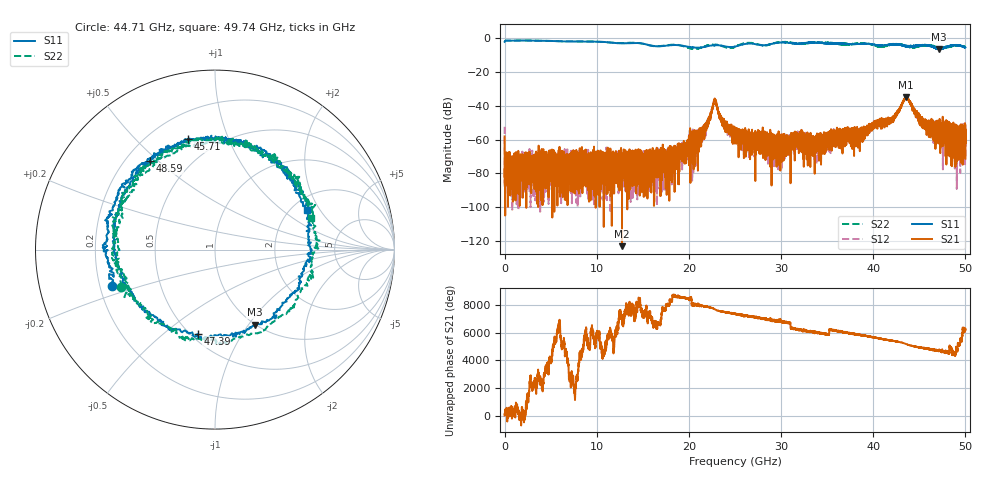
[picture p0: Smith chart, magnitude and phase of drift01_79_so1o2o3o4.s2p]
!Created with skrf (http://scikit-rf.org).
# Hz S RI R 50.0
!freq ReS11 ImS11 ReS21 ImS21 ReS12 ImS12 ReS22 ImS22
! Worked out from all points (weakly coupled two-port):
!   10001 points, 300 kHz to 50 GHz, reference 50 ohm
!   highest |S21| = -34.82 dB at 43.56 GHz (marker M1); lowest = -123.1 dB at 12.74 GHz (marker M2)
!   lowest |S11| = -6.5 dB at 47.11 GHz (marker M3), VSWR 2.79, Z = 49.8 - j53.5 ohm
!   |S11| at or under -10 dB: nowhere
!   |S22| runs from -6.4 to -1.4 dB; largest |S21 - S12| = 0.0037
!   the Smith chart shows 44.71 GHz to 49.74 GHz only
!   S11 on the Smith chart (normalised r, x): 44.71 GHz: 0.25, -0.16; 45.71 GHz: 0.35, +0.72; 47.39 GHz: 0.54, -0.66; 48.59 GHz: 0.30, +0.47; 49.74 GHz: 2.41, +1.56
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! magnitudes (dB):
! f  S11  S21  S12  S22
! 300 kHz  -2.1  -58.1  -52.4  -2.1
! 260.3 MHz  -1.4  -83.7  -78.5  -1.4
! 8.335 GHz  -1.9  -77.2  -78.8  -1.8
! 12.74 GHz  -3.0  -123.1  -76.5  -2.9
! 16.67 GHz  -4.8  -69.1  -75.8  -4.8
! 21.11 GHz  -5.6  -58.4  -56.3  -5.9
! 21.96 GHz  -4.8  -49.9  -49.5  -4.4
! 22.8 GHz  -4.3  -36.1  -36.3  -4.0
! 23.81 GHz  -4.7  -50.5  -51.9  -5.1
! 25 GHz  -5.0  -58.5  -57.2  -5.0
! 30.03 GHz  -2.6  -61.2  -67.0  -2.3
! 33.34 GHz  -2.6  -64.2  -61.0  -2.7
! 38.3 GHz  -3.5  -55.4  -55.7  -3.3
! 41.67 GHz  -3.9  -48.7  -48.6  -4.1
! 43.56 GHz  -4.5  -34.8  -35.2  -4.9
! 44.71 GHz  -4.3  -44.2  -45.0  -5.0
! 45.71 GHz  -3.9  -50.3  -53.0  -4.2
! 47.11 GHz  -6.5  -51.6  -53.0  -5.7
! 47.39 GHz  -6.4  -54.3  -54.0  -6.0
! 48.59 GHz  -4.3  -55.8  -54.6  -4.8
! 49.74 GHz  -5.0  -59.2  -55.1  -5.0
! 50 GHz  -5.5  -71.3  -61.1  -5.3
